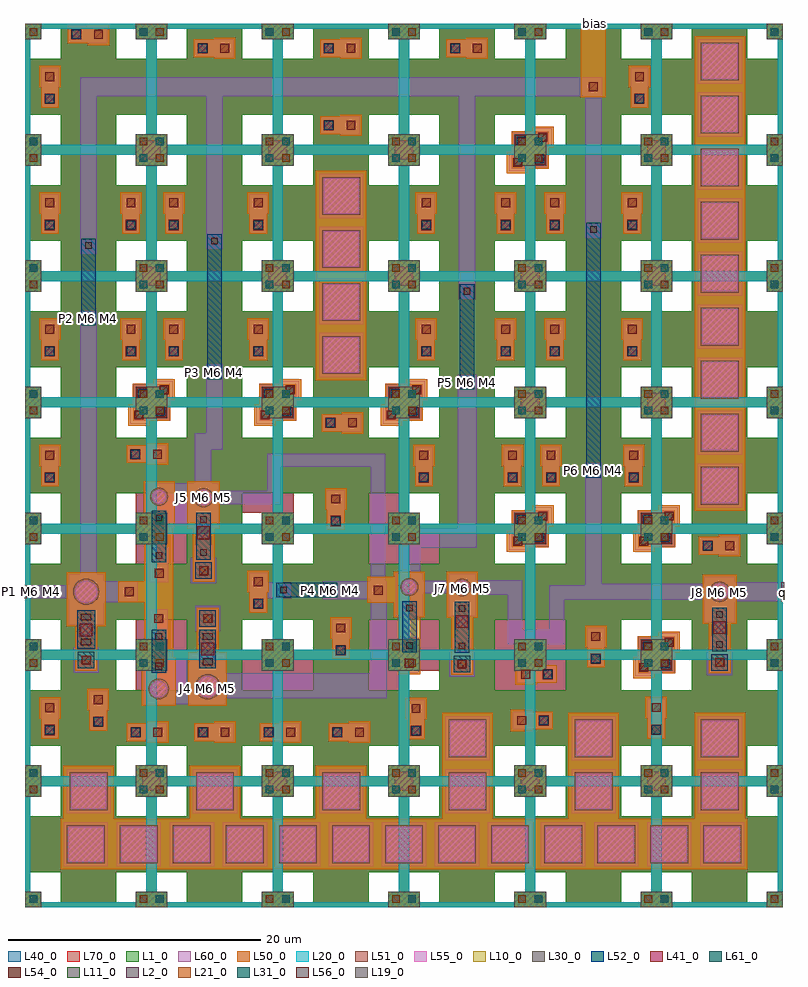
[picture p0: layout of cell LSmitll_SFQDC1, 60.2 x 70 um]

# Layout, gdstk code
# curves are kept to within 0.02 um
from math import pi, radians
import gdstk
lib = gdstk.Library(unit=1e-6, precision=1e-09)
def R(c, l, rs):  # rectangles x0, y0, x1, y1
    for r in rs: c.add(gdstk.rectangle(r[:2], r[2:], *l))
def A(c, l, x, y, w, h, nx, ny, dx, dy):  # array of equal rectangles
    R(c, l, [(x+i*dx, y+j*dy, x+i*dx+w, y+j*dy+h) for i in range(nx) for j in range(ny)])
def P(c, l, *ps):  # polygons
    for p in ps: c.add(gdstk.Polygon(p, *l))
L0_0 = (0, 0)
L1_0 = (1, 0)
L2_0 = (2, 0)
L10_0 = (10, 0)
L11_0 = (11, 0)
L19_0 = (19, 0)
L20_0 = (20, 0)
L21_0 = (21, 0)
L30_0 = (30, 0)
L31_0 = (31, 0)
L40_0 = (40, 0)
L41_0 = (41, 0)
L50_0 = (50, 0)
L51_0 = (51, 0)
L52_0 = (52, 0)
L54_0 = (54, 0)
L55_0 = (55, 0)
L56_0 = (56, 0)
L60_0 = (60, 0)
L61_0 = (61, 0)
L70_0 = (70, 0)

ls_fakejj_3umx3um = lib.new_cell('ls_FakeJJ_3umx3um')
R(ls_fakejj_3umx3um, L40_0, [(-2,-2,2,2)])
R(ls_fakejj_3umx3um, L50_0, [(-2,-2,2,2)])
R(ls_fakejj_3umx3um, L51_0, [(-1.5,-1.5,1.5,1.5)])
R(ls_fakejj_3umx3um, L55_0, [(-1.4,-1.4,1.4,1.4)])
R(ls_fakejj_3umx3um, L60_0, [(-1.75,-1.75,1.75,1.75)])

ls_conn_m4m5m6m7_block = lib.new_cell('ls_conn_M4M5M6M7_block')
R(ls_conn_m4m5m6m7_block, L40_0, [(-1.475,-1.475,1.475,1.475)])
R(ls_conn_m4m5m6m7_block, L41_0, [(0.375,-1.175,1.175,-0.375), (-1.175,0.375,-0.375,1.175)])
P(ls_conn_m4m5m6m7_block, L50_0, [(1.85,1.85),(0.15,1.85),(0.15,1.475),(-1.475,1.475),(-1.475,-0.15),(-1.85,-0.15),(-1.85,-1.85),(-0.15,-1.85),(-0.15,-1.475),(1.475,-1.475),(1.475,0.15),(1.85,0.15)])
R(ls_conn_m4m5m6m7_block, L54_0, [(-1.35,-1.35,-0.65,-0.65), (0.65,0.65,1.35,1.35)])
P(ls_conn_m4m5m6m7_block, L60_0, [(1.7,1.7),(0.3,1.7),(0.3,1.45),(-1.45,1.45),(-1.45,-0.3),(-1.7,-0.3),(-1.7,-1.7),(-0.3,-1.7),(-0.3,-1.45),(1.45,-1.45),(1.45,0.3),(1.7,0.3)])
R(ls_conn_m4m5m6m7_block, L61_0, [(0.35,-1.05,1.05,-0.35), (-1.05,0.35,-0.35,1.05)])
R(ls_conn_m4m5m6m7_block, L70_0, [(-1.45,-1.45,1.45,1.45)])

ls_fakejj_1p5x1p5um = lib.new_cell('ls_FakeJJ_1p5x1p5um')
R(ls_fakejj_1p5x1p5um, L40_0, [(-1.25,-1.25,1.25,1.25)])
R(ls_fakejj_1p5x1p5um, L50_0, [(-1.25,-1.25,1.25,1.25)])
R(ls_fakejj_1p5x1p5um, L51_0, [(-0.75,-0.75,0.75,0.75)])
R(ls_fakejj_1p5x1p5um, L55_0, [(-0.65,-0.65,0.65,0.65)])
R(ls_fakejj_1p5x1p5um, L60_0, [(-1,-1,1,1)])

ls_conn_m5m6 = lib.new_cell('ls_conn_M5M6')
R(ls_conn_m5m6, L50_0, [(0,0,1.7,1.7)])
R(ls_conn_m5m6, L54_0, [(0.5,0.5,1.2,1.2)])
R(ls_conn_m5m6, L60_0, [(0.15,0.15,1.55,1.55)])

ls_tr_m7 = lib.new_cell('ls_tr_M7')
P(ls_tr_m7, L70_0, [(10,10),(7.2,10),(7.2,9.6),(8.75,9.6),(8.75,8.75),(9.6,8.75),(9.6,7.2),(7.2,7.2),(7.2,2.8),(9.6,2.8),(9.6,1.25),(8.75,1.25),(8.75,0.4),(7.2,0.4),(7.2,10),(1.25,10),(1.25,9.6),(2.8,9.6),(2.8,7.2),(0.4,7.2),(0.4,2.8),(2.8,2.8),(2.8,0.4),(1.25,0.4),(1.25,1.25),(0.4,1.25),(0.4,8.75),(1.25,8.75),(1.25,10),(0,10),(0,0),(10,0)])

ls_conn_m4m5m6m7 = lib.new_cell('ls_conn_M4M5M6M7')
R(ls_conn_m4m5m6m7, L40_0, [(0,0,1.4,1.4)])
R(ls_conn_m4m5m6m7, L41_0, [(0.3,0.3,1.1,1.1)])
P(ls_conn_m4m5m6m7, L50_0, [(3.3,1.55),(1.6,1.55),(1.6,1.4),(0,1.4),(0,0),(1.6,0),(1.6,-0.15),(3.3,-0.15)])
R(ls_conn_m4m5m6m7, L54_0, [(2.1,0.35,2.8,1.05)])
R(ls_conn_m4m5m6m7, L60_0, [(0,0,3.15,1.4)])
R(ls_conn_m4m5m6m7, L61_0, [(0.35,0.35,1.05,1.05)])
R(ls_conn_m4m5m6m7, L70_0, [(0,0,1.4,1.4)])

ls_res_5p74 = lib.new_cell('ls_res_5p74')
R(ls_res_5p74, L52_0, [(-0.575,0,0.575,4.825)])
R(ls_res_5p74, L56_0, [(-0.26,0.29,0.26,0.81), (-0.26,4.02,0.26,4.54)])
R(ls_res_5p74, L60_0, [(-0.625,-0.1,0.625,1.175), (-0.625,3.65,0.625,4.925)])

ls_conn_m5m6m7 = lib.new_cell('ls_conn_M5M6M7')
R(ls_conn_m5m6m7, L50_0, [(-0.5,-0.5,1.2,1.2)])
R(ls_conn_m5m6m7, L54_0, [(0,0,0.7,0.7)])
R(ls_conn_m5m6m7, L60_0, [(-0.65,-0.65,1.35,1.35)])
R(ls_conn_m5m6m7, L61_0, [(-0.3,-0.3,1,1)])
R(ls_conn_m5m6m7, L70_0, [(-0.65,-0.65,1.35,1.35)])

ls_jj_200_sg = lib.new_cell('ls_jj_200_sg')
R(ls_jj_200_sg, L41_0, [(-0.5,2.325,0.5,3.325)])
R(ls_jj_200_sg, L50_0, [(-1.35,-1.35,1.35,2.525), (-0.875,2.525,0.875,6.45)])
P(ls_jj_200_sg, L51_0, [(0,-0.815),(0.315,-0.755),(0.58,-0.575),(0.755,-0.31),(0.815,0),(0.755,0.315),(0.58,0.58),(0.315,0.76),(0,0.82),(-0.315,0.76),(-0.58,0.58),(-0.755,0.315),(-0.815,0),(-0.755,-0.31),(-0.58,-0.575),(-0.315,-0.755)])
R(ls_jj_200_sg, L52_0, [(-0.575,1.275,0.575,4.7)])
P(ls_jj_200_sg, L55_0, [(0,-0.67),(0.27,-0.62),(0.37,-0.56),(0.57,-0.37),(0.67,-0.13),(0.67,0.13),(0.57,0.37),(0.27,0.61),(0,0.67),(-0.27,0.61),(-0.47,0.47),(-0.57,0.37),(-0.67,0.13),(-0.67,-0.13),(-0.57,-0.37),(-0.27,-0.62)])
R(ls_jj_200_sg, L56_0, [(-0.26,1.54,0.26,2.06), (-0.26,3.91,0.26,4.43)])
R(ls_jj_200_sg, L60_0, [(-1.2,-1.2,1.2,2.425), (-0.725,3.525,0.725,6.3)])
ls_jj_200_sg.add(gdstk.Reference(ls_conn_m5m6m7, (-0.35,5.25)))

ls_jj_150_sg = lib.new_cell('ls_jj_150_sg')
R(ls_jj_150_sg, L41_0, [(-0.5,2.2,0.5,3.2)])
R(ls_jj_150_sg, L50_0, [(-1.225,-1.225,1.225,2.4), (-0.875,2.4,0.875,6.925)])
P(ls_jj_150_sg, L51_0, [(0,-0.71),(0.27,-0.655),(0.505,-0.5),(0.66,-0.27),(0.71,0),(0.66,0.275),(0.505,0.505),(0.27,0.66),(0,0.715),(-0.27,0.66),(-0.505,0.505),(-0.66,0.275),(-0.71,0),(-0.66,-0.27),(-0.505,-0.5),(-0.27,-0.655)])
R(ls_jj_150_sg, L52_0, [(-0.575,1.125,0.575,5.175)])
P(ls_jj_150_sg, L55_0, [(0,-0.56),(0.23,-0.52),(0.4,-0.41),(0.52,-0.21),(0.56,0),(0.52,0.22),(0.4,0.4),(0.23,0.52),(0,0.56),(-0.23,0.52),(-0.4,0.4),(-0.52,0.22),(-0.56,0),(-0.52,-0.21),(-0.4,-0.41),(-0.23,-0.52)])
R(ls_jj_150_sg, L56_0, [(-0.26,1.41,0.26,1.93), (-0.26,4.39,0.26,4.91)])
R(ls_jj_150_sg, L60_0, [(-1.075,-1.075,1.075,2.3), (-0.725,4.025,0.725,6.775)])
ls_jj_150_sg.add(gdstk.Reference(ls_conn_m5m6m7, (-0.35,5.725)))

ls_jj_150_s = lib.new_cell('ls_jj_150_s')
R(ls_jj_150_s, L50_0, [(-1.225,-1.225,1.225,2.4), (-0.875,2.4,0.875,6.925)])
P(ls_jj_150_s, L51_0, [(0,-0.71),(0.27,-0.655),(0.505,-0.5),(0.66,-0.27),(0.71,0),(0.66,0.275),(0.505,0.505),(0.27,0.66),(0,0.715),(-0.27,0.66),(-0.505,0.505),(-0.66,0.275),(-0.71,0),(-0.66,-0.27),(-0.505,-0.5),(-0.27,-0.655)])
R(ls_jj_150_s, L52_0, [(-0.575,1.125,0.575,5.175)])
R(ls_jj_150_s, L54_0, [(-0.35,5.7,0.35,6.4)])
P(ls_jj_150_s, L55_0, [(0,-0.56),(0.23,-0.52),(0.4,-0.41),(0.52,-0.21),(0.56,0),(0.52,0.22),(0.4,0.4),(0.23,0.52),(0,0.56),(-0.23,0.52),(-0.4,0.4),(-0.52,0.22),(-0.56,0),(-0.52,-0.21),(-0.4,-0.41),(-0.23,-0.52)])
R(ls_jj_150_s, L56_0, [(-0.26,1.41,0.26,1.93), (-0.26,4.39,0.26,4.91)])
R(ls_jj_150_s, L60_0, [(-1.075,-1.075,1.075,2.3), (-0.725,4.025,0.725,6.775)])

ls_ib_080 = lib.new_cell('ls_ib_080')
R(ls_ib_080, L52_0, [(-0.575,0,0.575,20.2)])
R(ls_ib_080, L56_0, [(-0.26,0.29,0.26,0.81), (-0.26,19.41,0.26,19.93)])
R(ls_ib_080, L60_0, [(-0.625,-0.1,0.625,1.175), (-0.625,19.025,0.625,20.3)])

ls_ib_220 = lib.new_cell('ls_ib_220')
R(ls_ib_220, L52_0, [(-0.575,0,0.575,8.325)])
R(ls_ib_220, L56_0, [(-0.26,0.29,0.26,0.81), (-0.26,7.52,0.26,8.04)])
R(ls_ib_220, L60_0, [(-0.625,-0.1,0.625,1.175), (-0.625,7.15,0.625,8.425)])

ls_jj_200_s = lib.new_cell('ls_jj_200_s')
R(ls_jj_200_s, L50_0, [(-1.35,-1.35,1.35,2.525), (-0.875,2.525,0.875,6.45)])
P(ls_jj_200_s, L51_0, [(0,-0.815),(0.315,-0.755),(0.58,-0.575),(0.755,-0.31),(0.815,0),(0.755,0.315),(0.58,0.58),(0.315,0.76),(0,0.82),(-0.315,0.76),(-0.58,0.58),(-0.755,0.315),(-0.815,0),(-0.755,-0.31),(-0.58,-0.575),(-0.315,-0.755)])
R(ls_jj_200_s, L52_0, [(-0.575,1.275,0.575,4.7)])
R(ls_jj_200_s, L54_0, [(-0.35,5.225,0.35,5.925)])
P(ls_jj_200_s, L55_0, [(0,-0.67),(0.27,-0.62),(0.37,-0.56),(0.57,-0.37),(0.67,-0.13),(0.67,0.13),(0.57,0.37),(0.27,0.61),(0,0.67),(-0.27,0.61),(-0.47,0.47),(-0.57,0.37),(-0.67,0.13),(-0.67,-0.13),(-0.57,-0.37),(-0.27,-0.62)])
R(ls_jj_200_s, L56_0, [(-0.26,1.54,0.26,2.06), (-0.26,3.91,0.26,4.43)])
R(ls_jj_200_s, L60_0, [(-1.2,-1.2,1.2,2.425), (-0.725,3.525,0.725,6.3)])

ls_tr_u_m4 = lib.new_cell('ls_tr_u_M4')
P(ls_tr_u_m4, L1_0, [(10,10),(7.2,10),(7.2,9.6),(8.75,9.6),(8.75,8.75),(9.6,8.75),(9.6,7.2),(7.2,7.2),(7.2,2.8),(9.6,2.8),(9.6,1.25),(8.75,1.25),(8.75,0.4),(7.2,0.4),(7.2,10),(1.25,10),(1.25,9.6),(2.8,9.6),(2.8,7.2),(0.4,7.2),(0.4,2.8),(2.8,2.8),(2.8,0.4),(1.25,0.4),(1.25,1.25),(0.4,1.25),(0.4,8.75),(1.25,8.75),(1.25,10),(0,10),(0,0),(10,0)])
R(ls_tr_u_m4, L2_0, [(9.05,0.35,9.65,0.95), (0.35,9.05,0.95,9.65)])
R(ls_tr_u_m4, L10_0, [(0,0,1.25,1.25), (8.75,0,10,1.25), (0,8.75,1.25,10), (8.75,8.75,10,10)])
R(ls_tr_u_m4, L11_0, [(0.35,0.35,0.95,0.95), (9.05,9.05,9.65,9.65)])
P(ls_tr_u_m4, L20_0, [(10,10),(1.25,10),(1.25,9.6),(8.75,9.6),(8.75,8.75),(9.6,8.75),(9.6,1.25),(8.75,1.25),(8.75,0.4),(1.25,0.4),(1.25,1.25),(0.4,1.25),(0.4,8.75),(1.25,8.75),(1.25,10),(0,10),(0,0),(10,0)])
R(ls_tr_u_m4, L21_0, [(9.05,0.35,9.65,0.95), (0.35,9.05,0.95,9.65)])
R(ls_tr_u_m4, L30_0, [(0,0,1.25,1.25), (8.75,0,10,1.25), (0,8.75,1.25,10), (8.75,8.75,10,10)])
R(ls_tr_u_m4, L31_0, [(0.35,0.35,0.95,0.95), (9.05,9.05,9.65,9.65)])
P(ls_tr_u_m4, L40_0, [(10,10),(7.2,10),(7.2,9.6),(8.75,9.6),(8.75,8.75),(9.6,8.75),(9.6,7.2),(7.2,7.2),(7.2,2.8),(9.6,2.8),(9.6,1.25),(8.75,1.25),(8.75,0.4),(7.2,0.4),(7.2,10),(1.25,10),(1.25,9.6),(2.8,9.6),(2.8,7.2),(0.4,7.2),(0.4,2.8),(2.8,2.8),(2.8,0.4),(1.25,0.4),(1.25,1.25),(0.4,1.25),(0.4,8.75),(1.25,8.75),(1.25,10),(0,10),(0,0),(10,0)])

ls_jj_325_sg = lib.new_cell('ls_jj_325_sg')
R(ls_jj_325_sg, L41_0, [(-0.5,2.525,0.5,3.525)])
R(ls_jj_325_sg, L50_0, [(-1.55,-1.55,1.55,2.725), (-0.875,2.725,0.875,6.275)])
P(ls_jj_325_sg, L51_0, [(0,-1.035),(0.2,-1.015),(0.395,-0.955),(0.575,-0.86),(0.73,-0.73),(0.86,-0.575),(0.955,-0.395),(1.015,-0.2),(1.035,0),(1.015,0.2),(0.955,0.395),(0.86,0.575),(0.73,0.73),(0.575,0.86),(0.395,0.955),(0.2,1.015),(0,1.035),(-0.2,1.015),(-0.395,0.955),(-0.575,0.86),(-0.73,0.73),(-0.86,0.575),(-0.955,0.395),(-1.015,0.2),(-1.035,0),(-1.015,-0.2),(-0.955,-0.395),(-0.86,-0.575),(-0.73,-0.73),(-0.575,-0.86),(-0.395,-0.955),(-0.2,-1.015)])
R(ls_jj_325_sg, L52_0, [(-0.7,1.45,0.7,4.525)])
R(ls_jj_325_sg, L54_0, [(-0.35,5.05,0.35,5.75)])
P(ls_jj_325_sg, L55_0, [(0,-0.88),(0.34,-0.81),(0.63,-0.62),(0.74,-0.49),(0.82,-0.33),(0.89,0.01),(0.82,0.34),(0.74,0.5),(0.63,0.63),(0.34,0.82),(0,0.89),(-0.34,0.82),(-0.63,0.63),(-0.74,0.5),(-0.82,0.34),(-0.89,0.01),(-0.82,-0.33),(-0.74,-0.49),(-0.63,-0.62),(-0.34,-0.81)])
R(ls_jj_325_sg, L56_0, [(-0.42,1.73,0.42,2.25), (-0.42,3.73,0.42,4.25)])
R(ls_jj_325_sg, L60_0, [(-1.4,-1.4,1.4,2.625), (-0.8,3.35,0.8,6.125)])
ls_jj_325_sg.add(gdstk.Reference(ls_conn_m5m6m7, (-0.35,5.05)))

ls_ib_280 = lib.new_cell('ls_ib_280')
R(ls_ib_280, L52_0, [(-0.575,0,0.575,6.85)])
R(ls_ib_280, L56_0, [(-0.26,0.29,0.26,0.81), (-0.26,6.06,0.26,6.58)])
R(ls_ib_280, L60_0, [(-0.625,-0.1,0.625,1.175), (-0.625,5.675,0.625,6.95)])

ls_jj_300_sg = lib.new_cell('ls_jj_300_sg')
R(ls_jj_300_sg, L41_0, [(-0.5,2.5,0.5,3.5)])
R(ls_jj_300_sg, L50_0, [(-1.525,-1.525,1.525,2.725), (-0.875,2.725,0.875,6.275)])
P(ls_jj_300_sg, L51_0, [(0,-0.995),(0.38,-0.92),(0.705,-0.705),(0.92,-0.38),(0.995,0),(0.92,0.38),(0.705,0.705),(0.38,0.92),(0,0.995),(-0.38,0.92),(-0.705,0.705),(-0.92,0.38),(-0.995,0),(-0.92,-0.38),(-0.705,-0.705),(-0.38,-0.92)])
R(ls_jj_300_sg, L52_0, [(-0.65,1.45,0.65,4.525)])
R(ls_jj_300_sg, L54_0, [(-0.35,5.05,0.35,5.75)])
P(ls_jj_300_sg, L55_0, [(0,-0.85),(0.32,-0.79),(0.6,-0.6),(0.78,-0.33),(0.85,-0.01),(0.78,0.32),(0.6,0.59),(0.32,0.78),(0,0.84),(-0.32,0.78),(-0.6,0.59),(-0.78,0.32),(-0.85,-0.01),(-0.78,-0.33),(-0.6,-0.6),(-0.32,-0.79)])
R(ls_jj_300_sg, L56_0, [(-0.39,1.72,0.39,2.24), (-0.39,3.73,0.39,4.25)])
R(ls_jj_300_sg, L60_0, [(-1.375,-1.375,1.375,2.625), (-0.75,3.35,0.75,6.125)])
ls_jj_300_sg.add(gdstk.Reference(ls_conn_m5m6m7, (-0.35,5.05)))

ls_jj_175_sg = lib.new_cell('ls_jj_175_sg')
R(ls_jj_175_sg, L41_0, [(-0.5,2.275,0.5,3.275)])
R(ls_jj_175_sg, L50_0, [(-1.3,-1.3,1.3,2.45), (-0.875,2.45,0.875,6.65)])
P(ls_jj_175_sg, L51_0, [(0,-0.765),(0.295,-0.705),(0.54,-0.54),(0.71,-0.29),(0.765,0),(0.71,0.295),(0.54,0.545),(0.295,0.71),(0,0.77),(-0.295,0.71),(-0.54,0.545),(-0.71,0.295),(-0.765,0),(-0.71,-0.29),(-0.54,-0.54),(-0.295,-0.705)])
R(ls_jj_175_sg, L52_0, [(-0.575,1.2,0.575,4.9)])
R(ls_jj_175_sg, L54_0, [(-0.35,5.425,0.35,6.125)])
P(ls_jj_175_sg, L55_0, [(0,-0.62),(0.24,-0.57),(0.44,-0.44),(0.57,-0.24),(0.62,0),(0.57,0.23),(0.44,0.43),(0.24,0.57),(0,0.61),(-0.24,0.57),(-0.44,0.43),(-0.57,0.23),(-0.62,0),(-0.57,-0.24),(-0.44,-0.44),(-0.24,-0.57)])
R(ls_jj_175_sg, L56_0, [(-0.26,1.47,0.26,1.99), (-0.26,4.09,0.26,4.61)])
R(ls_jj_175_sg, L60_0, [(-1.15,-1.15,1.15,2.35), (-0.725,3.725,0.725,6.5)])
ls_jj_175_sg.add(gdstk.Reference(ls_conn_m5m6m7, (-0.35,5.425)))

ls_ib_150 = lib.new_cell('ls_ib_150')
R(ls_ib_150, L52_0, [(-0.575,0,0.575,11.475)])
R(ls_ib_150, L56_0, [(-0.26,0.29,0.26,0.81), (-0.26,10.69,0.26,11.21)])
R(ls_ib_150, L60_0, [(-0.625,-0.1,0.625,1.175), (-0.625,10.3,0.625,11.575)])

lsmitll_sfqdc1 = lib.new_cell('LSmitll_SFQDC1')
R(lsmitll_sfqdc1, L19_0, [(23.925,24.875,24.425,25.375), (44.75,34.325,45.25,34.825), (34.75,41.325,35.25,41.825), (14.75,42.15,15.25,42.65), (4.75,46.4,5.25,46.9)])
R(lsmitll_sfqdc1, L40_0, [(8.75,17.2,12.8,22.8), (17.2,17.2,22.8,19.6), (27.2,17.2,29.6,22.8), (37.2,17.2,42.8,19.6), (31.25,18.75,32.8,22.8), (37.2,20.4,42.8,22.8), (8.75,27.2,12.8,32.8), (27.2,27.2,29.6,32.8), (30.4,27.2,32.8,29.6), (17.2,31.25,21.25,32.8)])
A(lsmitll_sfqdc1, L50_0, 6.8, 3, 0.2, 4, 12, 1, 4.2, 0)
A(lsmitll_sfqdc1, L50_0, 3.025, 7, 4, 0.2, 6, 1, 10, 0)
A(lsmitll_sfqdc1, L50_0, 33.025, 11.2, 4, 0.2, 3, 1, 10, 0)
A(lsmitll_sfqdc1, L50_0, 53.025, 35.4, 4, 0.2, 1, 8, 0, 4.2)
A(lsmitll_sfqdc1, L50_0, 23.025, 45.75, 4, 0.2, 1, 3, 0, 4.2)
R(lsmitll_sfqdc1, L50_0, [(27.1,24.125,29.225,26.2)])
R(lsmitll_sfqdc1, L60_0, [(11.75,16.1,13.075,19.725), (15.65,16.55,28.65,18.55), (27.35,16.55,28.65,24.45), (23.55,24.425,27.25,25.825), (19.05,24.5,19.875,25.75), (31.4,24.9,33.6,25.875), (27.375,25.825,28.5,35.95), (29.75,26.425,31.275,30.025), (29.75,28.475,35.75,30.025), (11.65,30.225,13.125,33.6), (15.15,31.95,20.225,33), (19.15,31.95,20.225,34.9), (19.15,34.9,28.5,35.95)])
P(lsmitll_sfqdc1, L60_0, [(15.65,18.55),(15.65,16.55),(28.65,16.55),(28.65,24.45),(27.35,24.45),(27.35,18.55)])
R(lsmitll_sfqdc1, L70_0, [(8.75,17.2,12.8,22.8), (17.2,17.2,22.8,19.6), (27.2,17.2,29.6,22.8), (37.2,17.2,42.8,19.6), (31.25,18.75,32.8,22.8), (37.2,20.4,42.8,22.8), (8.75,27.2,12.8,32.8), (27.2,27.2,29.6,32.8), (30.4,27.2,32.8,29.6), (17.2,31.25,21.25,32.8)])
lsmitll_sfqdc1.add(gdstk.FlexPath([(35,64.25),(35,48.175)], 1.3, ends="flush", simple_path=True, layer=60, datatype=0))  # L60_0
lsmitll_sfqdc1.add(gdstk.FlexPath([(15,64.25),(15,52.15)], 1.3, ends="flush", simple_path=True, layer=60, datatype=0))  # L60_0
lsmitll_sfqdc1.add(gdstk.FlexPath([(5,65.65),(5,51.775)], 1.3, ends="flush", simple_path=True, layer=60, datatype=0))  # L60_0
lsmitll_sfqdc1.add(gdstk.FlexPath([(45.7,65),(4.35,65)], 1.5, ends="flush", simple_path=True, layer=60, datatype=0))  # L60_0
lsmitll_sfqdc1.add(gdstk.FlexPath([(45,65.7),(45,53.05)], 1.3, ends="flush", simple_path=True, layer=60, datatype=0))  # L60_0
lsmitll_sfqdc1.add(gdstk.FlexPath([(45,64.15),(45,70)], 2, ends="flush", simple_path=True, layer=50, datatype=0))  # L50_0
lsmitll_sfqdc1.add(gdstk.FlexPath([(5,26.325),(5,47.275)], 1.3, ends="flush", simple_path=True, layer=60, datatype=0))  # L60_0
lsmitll_sfqdc1.add(gdstk.FlexPath([(14.075,33.55),(14.075,36.9),(15,36.9),(15,43.025)], 1.3, ends="flush", simple_path=True, layer=60, datatype=0))  # L60_0
lsmitll_sfqdc1.add(gdstk.FlexPath([(45.65,24.925),(42.1,24.925),(42.1,21.425),(38.775,21.425),(38.775,25.35),(35.65,25.35)], 1.15, ends="flush", simple_path=True, layer=60, datatype=0))  # L60_0
lsmitll_sfqdc1.add(gdstk.FlexPath([(45,24.925),(45,35.2)], 1.3, ends="flush", simple_path=True, layer=60, datatype=0))  # L60_0
lsmitll_sfqdc1.add(gdstk.FlexPath([(53.875,25),(45,25)], 1.25, ends="flush", simple_path=True, layer=60, datatype=0))  # L60_0
lsmitll_sfqdc1.add(gdstk.FlexPath([(60,25.75),(60,24.25)], 0.2, ends="flush", simple_path=True, layer=19, datatype=0))  # L19_0
lsmitll_sfqdc1.add(gdstk.FlexPath([(56.175,25),(60,25)], 1.5, ends="flush", simple_path=True, layer=60, datatype=0))  # L60_0
lsmitll_sfqdc1.add(gdstk.FlexPath([(35,29.35),(35,42.2)], 1.5, ends="flush", simple_path=True, layer=60, datatype=0))  # L60_0
lsmitll_sfqdc1.add(gdstk.FlexPath([(7.75,25),(11.25,25)], 1.7, ends="flush", simple_path=True, layer=50, datatype=0))  # L50_0
lsmitll_sfqdc1.add(gdstk.FlexPath([(0,25.5),(0,24.5)], 0.2, ends="flush", simple_path=True, layer=19, datatype=0))  # L19_0
lsmitll_sfqdc1.add(gdstk.FlexPath([(0,0),(0,0)], 0, ends="round", simple_path=True, layer=0, datatype=0))  # L0_0
lsmitll_sfqdc1.add(gdstk.FlexPath([(0,25),(3.825,25)], 1, ends="flush", simple_path=True, layer=60, datatype=0))  # L60_0
lsmitll_sfqdc1.add(gdstk.FlexPath([(6.075,25),(8.925,25)], 1.7, ends="flush", simple_path=True, layer=60, datatype=0))  # L60_0
lsmitll_sfqdc1.add(gdstk.FlexPath([(10.575,24.15),(10.575,33.75)], 2.3, ends="flush", simple_path=True, layer=50, datatype=0))  # L50_0
lsmitll_sfqdc1.add(gdstk.FlexPath([(10.575,25.85),(10.575,15.95)], 2.3, ends="flush", simple_path=True, layer=50, datatype=0))  # L50_0
lsmitll_sfqdc1.add(gdstk.Reference(ls_fakejj_3umx3um, (55.025,67)))
lsmitll_sfqdc1.add(gdstk.Reference(ls_fakejj_3umx3um, (4.8,5)))
lsmitll_sfqdc1.add(gdstk.Reference(ls_conn_m4m5m6m7_block, (40,60)))
lsmitll_sfqdc1.add(gdstk.Reference(ls_fakejj_1p5x1p5um, (40,40)))
lsmitll_sfqdc1.add(gdstk.Reference(ls_fakejj_1p5x1p5um, (50,40)))
lsmitll_sfqdc1.add(gdstk.Reference(ls_fakejj_1p5x1p5um, (50,10)))
lsmitll_sfqdc1.add(gdstk.Reference(ls_fakejj_1p5x1p5um, (40,10)))
lsmitll_sfqdc1.add(gdstk.Reference(ls_fakejj_1p5x1p5um, (30,10)))
lsmitll_sfqdc1.add(gdstk.Reference(ls_fakejj_1p5x1p5um, (20,10)))
lsmitll_sfqdc1.add(gdstk.Reference(ls_fakejj_1p5x1p5um, (10,10)))
lsmitll_sfqdc1.add(gdstk.Reference(ls_fakejj_1p5x1p5um, (10,50)))
lsmitll_sfqdc1.add(gdstk.Reference(ls_fakejj_1p5x1p5um, (20,50)))
lsmitll_sfqdc1.add(gdstk.Reference(ls_fakejj_1p5x1p5um, (30,50)))
lsmitll_sfqdc1.add(gdstk.Reference(ls_fakejj_1p5x1p5um, (40,50)))
lsmitll_sfqdc1.add(gdstk.Reference(ls_fakejj_1p5x1p5um, (50,50)))
lsmitll_sfqdc1.add(gdstk.Reference(ls_fakejj_1p5x1p5um, (50,60)))
lsmitll_sfqdc1.add(gdstk.Reference(ls_fakejj_1p5x1p5um, (30,60)))
lsmitll_sfqdc1.add(gdstk.Reference(ls_fakejj_1p5x1p5um, (20,60)))
lsmitll_sfqdc1.add(gdstk.Reference(ls_fakejj_1p5x1p5um, (10,60)))
lsmitll_sfqdc1.add(gdstk.Reference(ls_conn_m5m6, (7.375,24.15)))
lsmitll_sfqdc1.add(gdstk.Reference(ls_conn_m5m6, (27.1,24.275)))
r = gdstk.Reference(ls_tr_m7, (0,0)); r.repetition = gdstk.Repetition(6, 7, v1=(10,0), v2=(0,10)); lsmitll_sfqdc1.add(r)
lsmitll_sfqdc1.add(gdstk.Reference(ls_conn_m4m5m6m7, (13.375,13.175)))
lsmitll_sfqdc1.add(gdstk.Reference(ls_conn_m4m5m6m7_block, (30,40)))
lsmitll_sfqdc1.add(gdstk.Reference(ls_conn_m4m5m6m7_block, (20,40)))
lsmitll_sfqdc1.add(gdstk.Reference(ls_conn_m4m5m6m7_block, (10,40)))
lsmitll_sfqdc1.add(gdstk.Reference(ls_conn_m4m5m6m7_block, (50,20)))
lsmitll_sfqdc1.add(gdstk.Reference(ls_conn_m4m5m6m7_block, (50,30)))
lsmitll_sfqdc1.add(gdstk.Reference(ls_conn_m4m5m6m7_block, (40,30)))
lsmitll_sfqdc1.add(gdstk.Reference(ls_conn_m5m6, (44.15,64.15)))
lsmitll_sfqdc1.add(gdstk.Reference(ls_res_5p74, (24.725,25.125), rotation=pi/2))
lsmitll_sfqdc1.add(gdstk.Reference(ls_jj_200_sg, (55,25), rotation=pi))
lsmitll_sfqdc1.add(gdstk.Reference(ls_jj_150_sg, (34.6,25.35), rotation=pi))
lsmitll_sfqdc1.add(gdstk.Reference(ls_jj_150_s, (30.425,25.375), rotation=pi))
lsmitll_sfqdc1.add(gdstk.Reference(ls_ib_080, (45,34.025)))
lsmitll_sfqdc1.add(gdstk.Reference(ls_ib_220, (35,41.025)))
lsmitll_sfqdc1.add(gdstk.Reference(ls_conn_m4m5m6m7, (19.15,23.35), rotation=pi/2))
lsmitll_sfqdc1.add(gdstk.Reference(ls_jj_200_s, (10.575,17.3)))
lsmitll_sfqdc1.add(gdstk.Reference(ls_tr_u_m4, (50,60)))
lsmitll_sfqdc1.add(gdstk.Reference(ls_tr_u_m4, (50,50)))
lsmitll_sfqdc1.add(gdstk.Reference(ls_tr_u_m4, (50,40)))
lsmitll_sfqdc1.add(gdstk.Reference(ls_tr_u_m4, (50,30)))
lsmitll_sfqdc1.add(gdstk.Reference(ls_tr_u_m4, (50,20)))
lsmitll_sfqdc1.add(gdstk.Reference(ls_tr_u_m4, (50,10)))
lsmitll_sfqdc1.add(gdstk.Reference(ls_tr_u_m4, (50,0)))
lsmitll_sfqdc1.add(gdstk.Reference(ls_tr_u_m4, (40,0)))
lsmitll_sfqdc1.add(gdstk.Reference(ls_tr_u_m4, (40,10)))
lsmitll_sfqdc1.add(gdstk.Reference(ls_tr_u_m4, (40,20)))
lsmitll_sfqdc1.add(gdstk.Reference(ls_tr_u_m4, (40,30)))
lsmitll_sfqdc1.add(gdstk.Reference(ls_tr_u_m4, (40,40)))
lsmitll_sfqdc1.add(gdstk.Reference(ls_tr_u_m4, (40,50)))
lsmitll_sfqdc1.add(gdstk.Reference(ls_tr_u_m4, (40,60)))
lsmitll_sfqdc1.add(gdstk.Reference(ls_tr_u_m4, (30,60)))
lsmitll_sfqdc1.add(gdstk.Reference(ls_tr_u_m4, (30,50)))
lsmitll_sfqdc1.add(gdstk.Reference(ls_tr_u_m4, (30,40)))
lsmitll_sfqdc1.add(gdstk.Reference(ls_tr_u_m4, (30,30)))
lsmitll_sfqdc1.add(gdstk.Reference(ls_tr_u_m4, (30,20)))
lsmitll_sfqdc1.add(gdstk.Reference(ls_tr_u_m4, (30,10)))
lsmitll_sfqdc1.add(gdstk.Reference(ls_tr_u_m4, (30,0)))
lsmitll_sfqdc1.add(gdstk.Reference(ls_tr_u_m4, (20,0)))
lsmitll_sfqdc1.add(gdstk.Reference(ls_tr_u_m4, (20,10)))
lsmitll_sfqdc1.add(gdstk.Reference(ls_tr_u_m4, (20,20)))
lsmitll_sfqdc1.add(gdstk.Reference(ls_tr_u_m4, (20,30)))
lsmitll_sfqdc1.add(gdstk.Reference(ls_tr_u_m4, (20,40)))
lsmitll_sfqdc1.add(gdstk.Reference(ls_tr_u_m4, (20,50)))
lsmitll_sfqdc1.add(gdstk.Reference(ls_tr_u_m4, (20,60)))
lsmitll_sfqdc1.add(gdstk.Reference(ls_tr_u_m4, (10,60)))
lsmitll_sfqdc1.add(gdstk.Reference(ls_tr_u_m4, (10,50)))
lsmitll_sfqdc1.add(gdstk.Reference(ls_tr_u_m4, (10,40)))
lsmitll_sfqdc1.add(gdstk.Reference(ls_tr_u_m4, (10,30)))
lsmitll_sfqdc1.add(gdstk.Reference(ls_tr_u_m4, (10,20)))
lsmitll_sfqdc1.add(gdstk.Reference(ls_tr_u_m4, (10,10)))
lsmitll_sfqdc1.add(gdstk.Reference(ls_tr_u_m4, (10,0)))
lsmitll_sfqdc1.add(gdstk.Reference(ls_tr_u_m4, (0,0)))
lsmitll_sfqdc1.add(gdstk.Reference(ls_tr_u_m4, (0,10)))
lsmitll_sfqdc1.add(gdstk.Reference(ls_tr_u_m4, (0,20)))
lsmitll_sfqdc1.add(gdstk.Reference(ls_tr_u_m4, (0,30)))
lsmitll_sfqdc1.add(gdstk.Reference(ls_tr_u_m4, (0,40)))
lsmitll_sfqdc1.add(gdstk.Reference(ls_tr_u_m4, (0,50)))
lsmitll_sfqdc1.add(gdstk.Reference(ls_tr_u_m4, (0,60)))
lsmitll_sfqdc1.add(gdstk.Reference(ls_jj_325_sg, (4.825,25), rotation=pi))
lsmitll_sfqdc1.add(gdstk.Reference(ls_ib_280, (5,46.1)))
lsmitll_sfqdc1.add(gdstk.Reference(ls_jj_150_s, (10.6,32.525), rotation=pi))
lsmitll_sfqdc1.add(gdstk.Reference(ls_jj_300_sg, (14.45,17.475)))
lsmitll_sfqdc1.add(gdstk.Reference(ls_jj_175_sg, (14.125,32.45), rotation=pi))
lsmitll_sfqdc1.add(gdstk.Reference(ls_ib_150, (15,41.85)))
lsmitll_sfqdc1.add(gdstk.Reference(ls_conn_m4m5m6m7, (25.3,29.9), rotation=pi/2))
lsmitll_sfqdc1.add(gdstk.Reference(ls_conn_m4m5m6m7, (18.575,13.175)))
lsmitll_sfqdc1.add(gdstk.Reference(ls_conn_m4m5m6m7, (24.025,13.175)))
lsmitll_sfqdc1.add(gdstk.Reference(ls_conn_m4m5m6m7, (31.65,13.3), rotation=pi/2))
lsmitll_sfqdc1.add(gdstk.Reference(ls_conn_m4m5m6m7, (25.7,19.675), rotation=pi/2))
lsmitll_sfqdc1.add(gdstk.Reference(ls_conn_m4m5m6m7, (8.05,13.175)))
lsmitll_sfqdc1.add(gdstk.Reference(ls_conn_m4m5m6m7, (6.475,14), rotation=pi/2))
lsmitll_sfqdc1.add(gdstk.Reference(ls_conn_m4m5m6m7, (8.025,35.2)))
lsmitll_sfqdc1.add(gdstk.Reference(ls_conn_m4m5m6m7, (23.475,37.675)))
lsmitll_sfqdc1.add(gdstk.Reference(ls_conn_m4m5m6m7, (32.275,33.35), rotation=pi/2))
lsmitll_sfqdc1.add(gdstk.Reference(ls_conn_m4m5m6m7, (39.3,33.35), rotation=pi/2))
lsmitll_sfqdc1.add(gdstk.Reference(ls_conn_m4m5m6m7, (42.35,33.35), rotation=pi/2))
lsmitll_sfqdc1.add(gdstk.Reference(ls_conn_m4m5m6m7, (48.9,33.35), rotation=pi/2))
lsmitll_sfqdc1.add(gdstk.Reference(ls_conn_m4m5m6m7, (45.9,19), rotation=pi/2))
lsmitll_sfqdc1.add(gdstk.Reference(ls_conn_m4m5m6m7, (53.35,27.95)))
lsmitll_sfqdc1.add(gdstk.Reference(ls_conn_m4m5m6m7, (42.1,17.775), rotation=pi, x_reflection=True))
lsmitll_sfqdc1.add(gdstk.Reference(ls_conn_m4m5m6m7, (2.65,13.35), rotation=pi/2))
lsmitll_sfqdc1.add(gdstk.Reference(ls_conn_m4m5m6m7, (2.65,33.35), rotation=pi/2))
lsmitll_sfqdc1.add(gdstk.Reference(ls_conn_m4m5m6m7, (2.65,43.35), rotation=pi/2))
lsmitll_sfqdc1.add(gdstk.Reference(ls_conn_m4m5m6m7, (2.65,53.35), rotation=pi/2))
lsmitll_sfqdc1.add(gdstk.Reference(ls_conn_m4m5m6m7, (2.65,63.35), rotation=pi/2))
lsmitll_sfqdc1.add(gdstk.Reference(ls_conn_m4m5m6m7, (9.075,43.35), rotation=pi/2))
lsmitll_sfqdc1.add(gdstk.Reference(ls_conn_m4m5m6m7, (12.475,43.35), rotation=pi/2))
lsmitll_sfqdc1.add(gdstk.Reference(ls_conn_m4m5m6m7, (19.15,43.35), rotation=pi/2))
lsmitll_sfqdc1.add(gdstk.Reference(ls_conn_m4m5m6m7, (32.45,43.35), rotation=pi/2))
lsmitll_sfqdc1.add(gdstk.Reference(ls_conn_m4m5m6m7, (38.75,43.35), rotation=pi/2))
lsmitll_sfqdc1.add(gdstk.Reference(ls_conn_m4m5m6m7, (42.65,43.35), rotation=pi/2))
lsmitll_sfqdc1.add(gdstk.Reference(ls_conn_m4m5m6m7, (48.775,43.35), rotation=pi/2))
lsmitll_sfqdc1.add(gdstk.Reference(ls_conn_m4m5m6m7, (48.775,53.35), rotation=pi/2))
lsmitll_sfqdc1.add(gdstk.Reference(ls_conn_m4m5m6m7, (42.65,53.35), rotation=pi/2))
lsmitll_sfqdc1.add(gdstk.Reference(ls_conn_m4m5m6m7, (38.75,53.35), rotation=pi/2))
lsmitll_sfqdc1.add(gdstk.Reference(ls_conn_m4m5m6m7, (32.45,53.35), rotation=pi/2))
lsmitll_sfqdc1.add(gdstk.Reference(ls_conn_m4m5m6m7, (19.15,53.35), rotation=pi/2))
lsmitll_sfqdc1.add(gdstk.Reference(ls_conn_m4m5m6m7, (12.475,53.35), rotation=pi/2))
lsmitll_sfqdc1.add(gdstk.Reference(ls_conn_m4m5m6m7, (9.075,53.35), rotation=pi/2))
lsmitll_sfqdc1.add(gdstk.Reference(ls_conn_m4m5m6m7, (49.35,63.35), rotation=pi/2))
lsmitll_sfqdc1.add(gdstk.Reference(ls_conn_m4m5m6m7, (3.35,68.45)))
lsmitll_sfqdc1.add(gdstk.Reference(ls_conn_m4m5m6m7, (13.35,67.35)))
lsmitll_sfqdc1.add(gdstk.Reference(ls_conn_m4m5m6m7, (23.35,67.35)))
lsmitll_sfqdc1.add(gdstk.Reference(ls_conn_m4m5m6m7, (33.35,67.35)))
lsmitll_sfqdc1.add(gdstk.Reference(ls_conn_m4m5m6m7, (23.35,61.25)))
lsmitll_sfqdc1.add(gdstk.Reference(ls_fakejj_3umx3um, (9,5)))
lsmitll_sfqdc1.add(gdstk.Reference(ls_fakejj_3umx3um, (13.2,5)))
lsmitll_sfqdc1.add(gdstk.Reference(ls_fakejj_3umx3um, (21.6,5)))
lsmitll_sfqdc1.add(gdstk.Reference(ls_fakejj_3umx3um, (17.4,5)))
lsmitll_sfqdc1.add(gdstk.Reference(ls_fakejj_3umx3um, (25.8,5)))
lsmitll_sfqdc1.add(gdstk.Reference(ls_fakejj_3umx3um, (30,5)))
lsmitll_sfqdc1.add(gdstk.Reference(ls_fakejj_3umx3um, (38.4,5)))
lsmitll_sfqdc1.add(gdstk.Reference(ls_fakejj_3umx3um, (34.2,5)))
lsmitll_sfqdc1.add(gdstk.Reference(ls_fakejj_3umx3um, (42.6,5)))
lsmitll_sfqdc1.add(gdstk.Reference(ls_fakejj_3umx3um, (46.8,5)))
lsmitll_sfqdc1.add(gdstk.Reference(ls_fakejj_3umx3um, (55.2,5)))
lsmitll_sfqdc1.add(gdstk.Reference(ls_fakejj_3umx3um, (51,5)))
lsmitll_sfqdc1.add(gdstk.Reference(ls_fakejj_3umx3um, (55.025,62.8)))
lsmitll_sfqdc1.add(gdstk.Reference(ls_fakejj_3umx3um, (55.025,58.6)))
lsmitll_sfqdc1.add(gdstk.Reference(ls_fakejj_3umx3um, (55.025,54.4)))
lsmitll_sfqdc1.add(gdstk.Reference(ls_fakejj_3umx3um, (55.025,50.2)))
lsmitll_sfqdc1.add(gdstk.Reference(ls_fakejj_3umx3um, (55.025,46)))
lsmitll_sfqdc1.add(gdstk.Reference(ls_fakejj_3umx3um, (55.025,41.8)))
lsmitll_sfqdc1.add(gdstk.Reference(ls_fakejj_3umx3um, (55.025,37.6)))
lsmitll_sfqdc1.add(gdstk.Reference(ls_fakejj_3umx3um, (55.025,33.4)))
lsmitll_sfqdc1.add(gdstk.Reference(ls_fakejj_3umx3um, (25.025,47.95)))
lsmitll_sfqdc1.add(gdstk.Reference(ls_fakejj_3umx3um, (25.025,52.15)))
lsmitll_sfqdc1.add(gdstk.Reference(ls_fakejj_3umx3um, (25.025,56.35)))
lsmitll_sfqdc1.add(gdstk.Reference(ls_fakejj_3umx3um, (25.025,43.75)))
lsmitll_sfqdc1.add(gdstk.Reference(ls_fakejj_3umx3um, (55.025,9.2)))
lsmitll_sfqdc1.add(gdstk.Reference(ls_fakejj_3umx3um, (55.025,13.4)))
lsmitll_sfqdc1.add(gdstk.Reference(ls_fakejj_3umx3um, (45.025,13.4)))
lsmitll_sfqdc1.add(gdstk.Reference(ls_fakejj_3umx3um, (45.025,9.2)))
lsmitll_sfqdc1.add(gdstk.Reference(ls_fakejj_3umx3um, (35.025,9.2)))
lsmitll_sfqdc1.add(gdstk.Reference(ls_fakejj_3umx3um, (35.025,13.4)))
lsmitll_sfqdc1.add(gdstk.Reference(ls_fakejj_3umx3um, (25.025,9.2)))
lsmitll_sfqdc1.add(gdstk.Reference(ls_fakejj_3umx3um, (15.025,9.2)))
lsmitll_sfqdc1.add(gdstk.Reference(ls_fakejj_3umx3um, (5.025,9.2)))
lsmitll_sfqdc1.add(gdstk.Reference(ls_conn_m4m5m6m7, (41.775,14.1), rotation=pi, x_reflection=True))
lsmitll_sfqdc1.add(gdstk.Reference(ls_conn_m4m5m6m7, (50.675,13.375), rotation=pi/2))
lsmitll_sfqdc1.add(gdstk.Label('P3 M6 M4', (15,42.4), layer=19, texttype=0))
lsmitll_sfqdc1.add(gdstk.Label('J5 M6 M5', (14.15,32.475), layer=19, texttype=0))
lsmitll_sfqdc1.add(gdstk.Label('J3 M5 M6', (10.575,32.425), layer=19, texttype=0))
lsmitll_sfqdc1.add(gdstk.Label('P5 M6 M4', (35,41.55), layer=19, texttype=0))
lsmitll_sfqdc1.add(gdstk.Label('P2 M6 M4', (5.025,46.65), layer=19, texttype=0))
lsmitll_sfqdc1.add(gdstk.Label('P6 M6 M4', (45,34.575), layer=19, texttype=0))
lsmitll_sfqdc1.add(gdstk.Label('J7 M6 M5', (34.6,25.225), layer=19, texttype=0))
lsmitll_sfqdc1.add(gdstk.Label('J6 M5 M6', (30.4,25.25), layer=19, texttype=0))
lsmitll_sfqdc1.add(gdstk.Label('P4 M6 M4', (24.175,25.075), layer=19, texttype=0))
lsmitll_sfqdc1.add(gdstk.Label('P1 M6 M4', (0.05,25), layer=19, texttype=0))
lsmitll_sfqdc1.add(gdstk.Label('J1 M6 M5', (4.85,25), layer=19, texttype=0))
lsmitll_sfqdc1.add(gdstk.Label('J8 M6 M5', (55.025,24.975), layer=19, texttype=0))
lsmitll_sfqdc1.add(gdstk.Label('P7 M6 M4', (60,25), layer=19, texttype=0))
lsmitll_sfqdc1.add(gdstk.Label('J4 M6 M5', (14.4,17.325), layer=19, texttype=0))
lsmitll_sfqdc1.add(gdstk.Label('J2 M5 M6', (10.5,17.2), layer=19, texttype=0))
lsmitll_sfqdc1.add(gdstk.Label('a', (0,25), layer=182, texttype=0))
lsmitll_sfqdc1.add(gdstk.Label('q', (60,24.975), layer=182, texttype=0))
lsmitll_sfqdc1.add(gdstk.Label('bias', (45.05,70), layer=182, texttype=0))

lib.write_gds('LSmitll_SFQDC1.gds')
